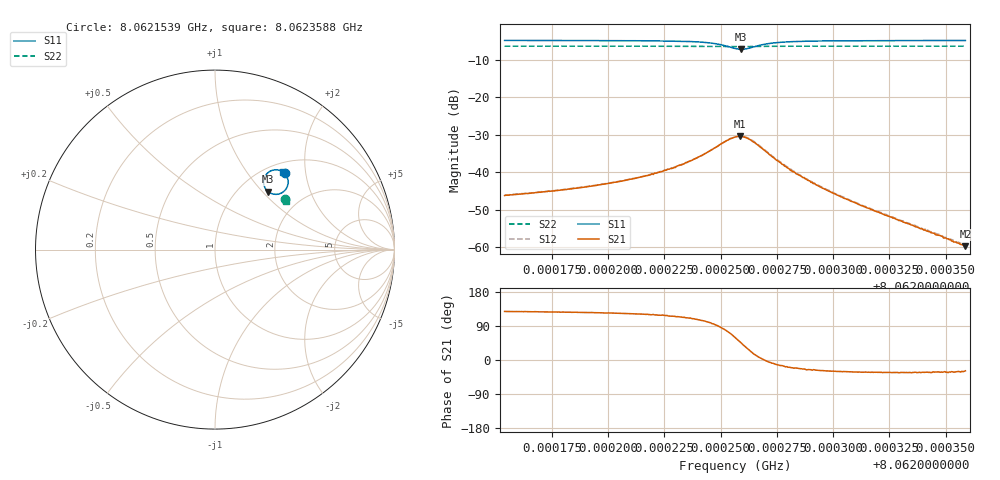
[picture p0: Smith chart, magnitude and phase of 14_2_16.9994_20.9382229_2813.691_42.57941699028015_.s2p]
#  HZ  S  RI  R  50.00
! Rohde & Schwarz Vector Network Analyzer
! Rohde-Schwarz,ZNB20-2Port,1311601062101988,3.16
! Created: UTC 3/20/2024, 10:52:42 PM
! freq[Hz]  re:S11  im:S11  re:S21  im:S21  re:S12  im:S12  re:S22  im:S22
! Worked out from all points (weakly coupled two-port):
!   401 points, 8.0621539 GHz to 8.0623588 GHz, reference 50 ohm
!   highest |S21| = -30.43 dB at 8.0622584 GHz (marker M1); lowest = -59.8 dB at 8.0623588 GHz (marker M2)
!   lowest |S11| = -7.2 dB at 8.0622589 GHz (marker M3), VSWR 2.56, Z = 67.4 + j53.8 ohm
!   |S11| at or under -10 dB: nowhere
!   |S22| runs from -6.4 to -6.3 dB; largest |S21 - S12| = 0.0014
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8.0621539e9  0.3881 0.4246  -0.00302 0.00383  -0.00285 0.00408  0.3915 0.2819
8.06217593e9  0.3915 0.4206  -0.00338 0.00451  -0.00309 0.00474  0.3922 0.2808
8.06218823e9  0.3939 0.4175  -0.00364 0.00509  -0.00336 0.00537  0.3926 0.28
8.06220616e9  0.3981 0.411  -0.00414 0.0064  -0.00383 0.00668  0.3933 0.2789
8.06222256e9  0.4032 0.3999  -0.00475 0.00881  -0.00422 0.00904  0.394 0.2777
8.06222922e9  0.4057 0.392  -0.00496 0.0105  -0.00437 0.0107  0.3942 0.277
8.06223383e9  0.4071 0.3843  -0.00504 0.0119  -0.00429 0.0123  0.3941 0.2763
8.06224151e9  0.4065 0.3645  -0.00415 0.0161  -0.00325 0.0164  0.3941 0.2751
8.06224612e9  0.4005 0.3459  -0.00209 0.02  -0.00126 0.02  0.3936 0.2743
8.06225125e9  0.3784 0.3203  0.00343 0.0247  0.0045 0.0246  0.3925 0.2732
8.06225637e9  0.3268 0.3089  0.0149 0.0255  0.0158 0.025  0.3902 0.2733
8.06225842e9  0.3019 0.3188  0.0199 0.0226  0.0207 0.0221  0.3896 0.2739
8.06225893e9  0.2963 0.3226  0.0208 0.0215  0.0218 0.0209  0.3893 0.2741
8.06226098e9  0.2788 0.3437  0.0239 0.0165  0.025 0.0158  0.3889 0.2751
8.06226354e9  0.2706 0.3739  0.0248 0.0098  0.0257 0.009  0.389 0.2766
8.06226713e9  0.2785 0.408  0.0222 0.0027  0.0228 0.00166  0.39 0.2776
8.06227072e9  0.2943 0.4278  0.0183 -0.00113  0.0186 -0.00209  0.3911 0.2781
8.06228148e9  0.3312 0.4443  0.00981 -0.00363  0.00997 -0.00421  0.3932 0.2778
8.0622907e9  0.3476 0.4441  0.00652 -0.00331  0.00644 -0.00367  0.3942 0.2771
8.06230402e9  0.3602 0.4413  0.00398 -0.00239  0.00393 -0.00263  0.3952 0.2762
8.06232503e9  0.3705 0.4371  0.00215 -0.0014  0.00209 -0.00152  0.3961 0.2749
8.06235884e9  0.3787 0.4324  0.000904 -0.000492  0.000874 -0.000601  0.3976 0.273
